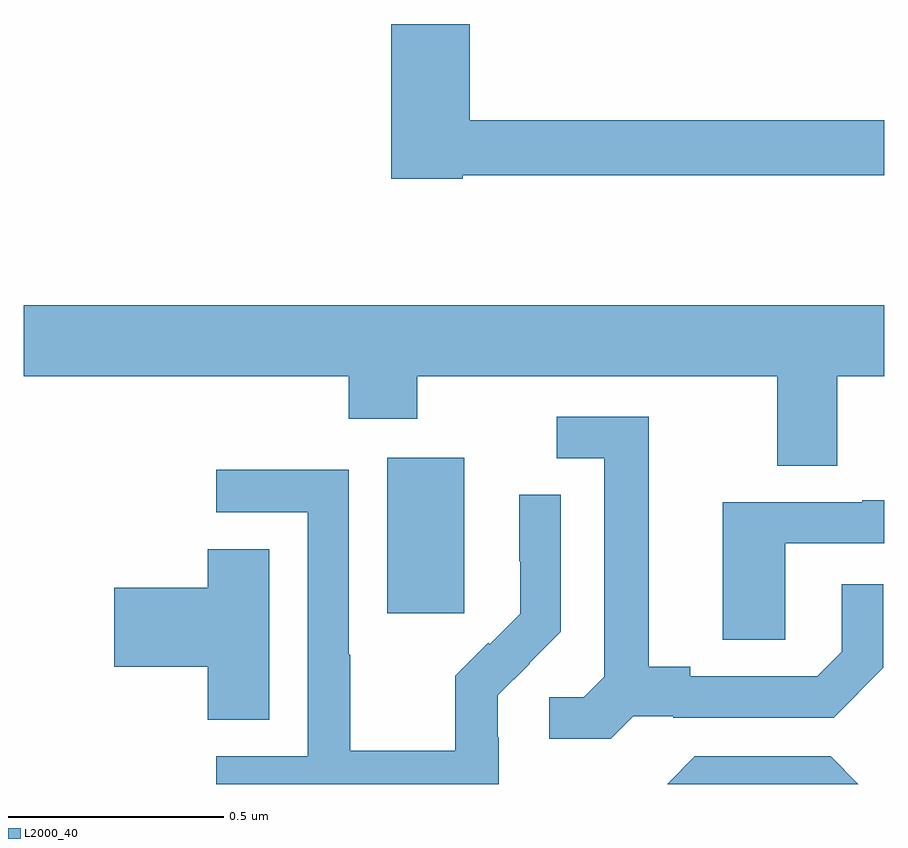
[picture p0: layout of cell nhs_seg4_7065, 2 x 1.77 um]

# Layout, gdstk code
import gdstk
lib = gdstk.Library(unit=1e-6, precision=1e-09)
def R(c, l, rs):  # rectangles x0, y0, x1, y1
    for r in rs: c.add(gdstk.rectangle(r[:2], r[2:], *l))
def P(c, l, *ps):  # polygons
    for p in ps: c.add(gdstk.Polygon(p, *l))
L2000_40 = (2000, 40)

nhs_seg4_7065 = lib.new_cell('nhs_seg4_7065')
R(nhs_seg4_7065, L2000_40, [(198.845,768.297,199.024,768.658)])
P(nhs_seg4_7065, L2000_40, [(199.02,769.314),(200,769.314),(200,769.442),(199.037,769.442),(199.037,769.666),(198.854,769.666),(198.854,769.306),(199.02,769.306)],
  [(199.891,768.848),(200,768.848),(200,769.012),(198,769.012),(198,768.848),(198.755,768.848),(198.755,768.749),(198.915,768.749),(198.915,768.848),(199.751,768.848),(199.751,768.64),(199.891,768.64)],
  [(199.416,768.057),(199.51,768.057),(199.51,768.054),(199.882,768.054),(199.998,768.17),(199.998,768.364),(199.901,768.364),(199.901,768.207),(199.844,768.15),(199.549,768.15),(199.549,768.173),(199.453,768.173),(199.453,768.753),(199.239,768.753),(199.239,768.657),(199.349,768.657),(199.349,768.149),(199.302,768.102),(199.221,768.102),(199.221,768.005),(199.364,768.005)],
  [(199.104,768.009),(199.102,768.009),(199.102,768.106),(199.176,768.18),(199.175,768.181),(199.248,768.254),(199.248,768.572),(199.152,768.572),(199.152,768.418),(199.154,768.418),(199.154,768.296),(199.083,768.225),(199.08,768.228),(199.003,768.151),(199.003,767.977),(198.759,767.977),(198.759,768.2),(198.756,768.2),(198.756,768.63),(198.447,768.63),(198.447,768.531),(198.66,768.531),(198.66,767.964),(198.447,767.964),(198.447,767.9),(199.104,767.9)],
  [(199.77,768.459),(200,768.459),(200,768.559),(199.949,768.559),(199.949,768.555),(199.625,768.555),(199.625,768.235),(199.77,768.235)],
  [(198.571,768.446),(198.428,768.446),(198.428,768.356),(198.21,768.356),(198.21,768.173),(198.428,768.173),(198.428,768.049),(198.571,768.049)],
  [(199.875,767.964),(199.56,767.964),(199.496,767.9),(199.939,767.9)])

lib.write_gds('nhs_seg4_7065.gds')
